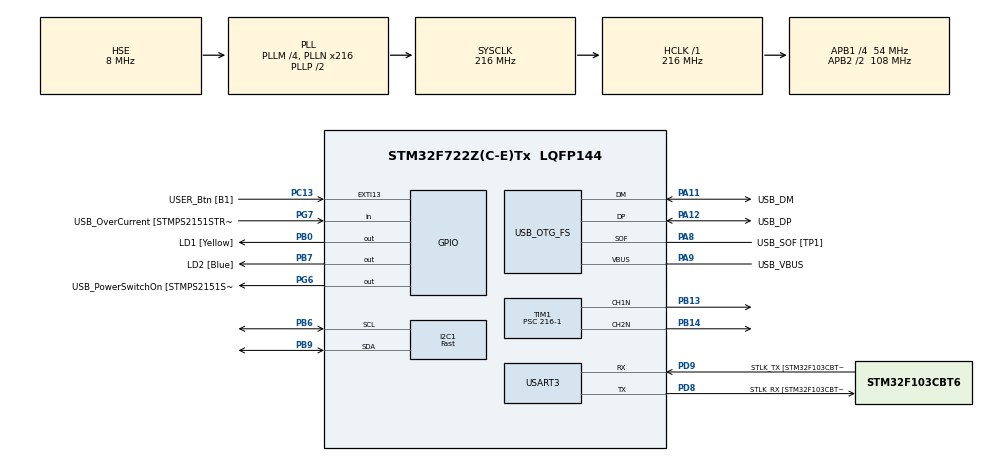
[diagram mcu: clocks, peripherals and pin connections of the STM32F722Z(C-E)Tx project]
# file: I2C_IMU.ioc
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I2C1.I2C_Speed_Mode=I2C_Fast
I2C1.Timing=0x6000030D
Mcu.Family=STM32F7
Mcu.Name=STM32F722Z(C-E)Tx
Mcu.Package=LQFP144
NVIC.PriorityGroup=NVIC_PRIORITYGROUP_4
PA10.GPIO_Label=USB_ID
PA10.Signal=USB_OTG_FS_ID
PA11.GPIO_Label=USB_DM
PA11.Mode=Device_Only
PA11.Signal=USB_OTG_FS_DM
PA12.GPIO_Label=USB_DP
PA12.Mode=Device_Only
PA12.Signal=USB_OTG_FS_DP
PA13.GPIO_Label=TMS
PA13.Mode=Serial_Wire
PA13.Signal=SYS_JTMS-SWDIO
PA14.GPIO_Label=TCK
PA14.Mode=Serial_Wire
PA14.Signal=SYS_JTCK-SWCLK
PA8.GPIO_Label=USB_SOF [TP1]
PA8.Mode=Activate_SOF_FS
PA8.Signal=USB_OTG_FS_SOF
PA9.GPIO_Label=USB_VBUS
PA9.Mode=Activate_VBUS
PA9.Signal=USB_OTG_FS_VBUS
PB0.GPIO_Label=LD1 [Yellow]
PB0.Signal=GPIO_Output
PB13.Mode=PWM Generation1 CH1N
PB13.Signal=TIM1_CH1N
PB14.Mode=PWM Generation2 CH2N
PB14.Signal=TIM1_CH2N
PB3.GPIO_Label=SWO
PB3.Signal=SYS_JTDO-SWO
PB6.Mode=I2C
PB6.Signal=I2C1_SCL
PB7.GPIO_Label=LD2 [Blue]
PB7.Signal=GPIO_Output
PB9.Mode=I2C
PB9.Signal=I2C1_SDA
PC13.GPIO_Label=USER_Btn [B1]
PC13.Signal=GPXTI13
PC14-OSC32_IN.Mode=LSE-External-Oscillator
PC14-OSC32_IN.Signal=RCC_OSC32_IN
PC15-OSC32_OUT.Mode=LSE-External-Oscillator
PC15-OSC32_OUT.Signal=RCC_OSC32_OUT
PD8.GPIO_Label=STLK_RX [STM32F103CBT6_PA3]
PD8.Mode=Asynchronous
PD8.Signal=USART3_TX
PD9.GPIO_Label=STLK_TX [STM32F103CBT6_PA2]
PD9.Mode=Asynchronous
PD9.Signal=USART3_RX
PG6.GPIO_Label=USB_PowerSwitchOn [STMPS2151STR_EN]
PG6.Signal=GPIO_Output
PG7.GPIO_Label=USB_OverCurrent [STMPS2151STR_FAULT]
PG7.Signal=GPIO_Input
PH0-OSC_IN.GPIO_Label=MCO
PH0-OSC_IN.Mode=HSE-External-Clock-Source
PH0-OSC_IN.Signal=RCC_OSC_IN
PH1-OSC_OUT.Mode=HSE-External-Clock-Source
PH1-OSC_OUT.Signal=RCC_OSC_OUT
ProjectManager.HeapSize=0x200
ProjectManager.StackSize=0x400
ProjectManager.TargetToolchain=TrueSTUDIO
RCC.48MHZClocksFreq_Value=24000000
RCC.AHBFreq_Value=216000000
RCC.APB1CLKDivider=RCC_HCLK_DIV4
RCC.APB1Freq_Value=54000000
RCC.APB1TimFreq_Value=108000000
RCC.APB2CLKDivider=RCC_HCLK_DIV2
RCC.APB2Freq_Value=108000000
RCC.APB2TimFreq_Value=216000000
RCC.CortexFreq_Value=216000000
RCC.HCLKFreq_Value=216000000
RCC.HSE_VALUE=8000000
RCC.HSI_VALUE=16000000
RCC.PLLM=4
RCC.PLLMUL=RCC_PLL_MUL9
RCC.PLLN=216
RCC.PLLQ=9
RCC.PRESCALERUSB=RCC_USBCLKSOURCE_PLL_DIV1_5
RCC.SYSCLKFreq_VALUE=216000000
RCC.SYSCLKSource=RCC_SYSCLKSOURCE_PLLCLK
RCC.SYSCLKSourceVirtual=RCC_SYSCLKSOURCE_PLLCLK
RCC.USBFreq_Value=48000000
RCC.VCOOutputFreq_Value=432000000
TIM1.Channel-PWM\ Generation1\ CH1N=TIM_CHANNEL_1
TIM1.Channel-PWM\ Generation2\ CH2N=TIM_CHANNEL_2
TIM1.Period=1000
TIM1.Prescaler=216-1
TIM1.Pulse-PWM\ Generation1\ CH1N=500
TIM1.Pulse-PWM\ Generation2\ CH2N=500
USART3.VirtualMode-Asynchronous=VM_ASYNC
USB_OTG_FS.VirtualMode=Device_Only
board=NUCLEO-F722ZE

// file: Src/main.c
/* USER CODE BEGIN Header */
/**
  ******************************************************************************
  * @file           : main.c
  * @brief          : Main program body
  ******************************************************************************
  ** This notice applies to any and all portions of this file
  * that are not between comment pairs USER CODE BEGIN and
  * USER CODE END. Other portions of this file, whether
  * inserted by the user or by software development tools
  * are owned by their respective copyright owners.
  *
  * COPYRIGHT(c) 2018 STMicroelectronics
  *
  * Redistribution and use in source and binary forms, with or without modification,
  * are permitted provided that the following conditions are met:
  *   1. Redistributions of source code must retain the above copyright notice,
  *      this list of conditions and the following disclaimer.
  *   2. Redistributions in binary form must reproduce the above copyright notice,
  *      this list of conditions and the following disclaimer in the documentation
  *      and/or other materials provided with the distribution.
  *   3. Neither the name of STMicroelectronics nor the names of its contributors
  *      may be used to endorse or promote products derived from this software
  *      without specific prior written permission.
  *
  * THIS SOFTWARE IS PROVIDED BY THE COPYRIGHT HOLDERS AND CONTRIBUTORS "AS IS"
  * AND ANY EXPRESS OR IMPLIED WARRANTIES, INCLUDING, BUT NOT LIMITED TO, THE
  * IMPLIED WARRANTIES OF MERCHANTABILITY AND FITNESS FOR A PARTICULAR PURPOSE ARE
  * DISCLAIMED. IN NO EVENT SHALL THE COPYRIGHT HOLDER OR CONTRIBUTORS BE LIABLE
  * FOR ANY DIRECT, INDIRECT, INCIDENTAL, SPECIAL, EXEMPLARY, OR CONSEQUENTIAL
  * DAMAGES (INCLUDING, BUT NOT LIMITED TO, PROCUREMENT OF SUBSTITUTE GOODS OR
  * SERVICES; LOSS OF USE, DATA, OR PROFITS; OR BUSINESS INTERRUPTION) HOWEVER
  * CAUSED AND ON ANY THEORY OF LIABILITY, WHETHER IN CONTRACT, STRICT LIABILITY,
  * OR TORT (INCLUDING NEGLIGENCE OR OTHERWISE) ARISING IN ANY WAY OUT OF THE USE
  * OF THIS SOFTWARE, EVEN IF ADVISED OF THE POSSIBILITY OF SUCH DAMAGE.
  *
  ******************************************************************************
  */
/* USER CODE END Header */

#include "main.h"

I2C_HandleTypeDef hi2c1;

TIM_HandleTypeDef htim1;

UART_HandleTypeDef huart3;

PCD_HandleTypeDef hpcd_USB_OTG_FS;

void SystemClock_Config(void);
static void MX_GPIO_Init(void);
static void MX_USART3_UART_Init(void);
static void MX_USB_OTG_FS_PCD_Init(void);
static void MX_I2C1_Init(void);
static void MX_TIM1_Init(void);

int main(void)
{

  /* MCU Configuration--------------------------------------------------------*/

  /* Reset of all peripherals, Initializes the Flash interface and the Systick. */
  HAL_Init();

  /* Configure the system clock */
  SystemClock_Config();

  /* Initialize all configured peripherals */
  MX_GPIO_Init();
  MX_USART3_UART_Init();
  MX_USB_OTG_FS_PCD_Init();
  MX_I2C1_Init();
  MX_TIM1_Init();
  /* USER CODE BEGIN 2 */

  HAL_StatusTypeDef rcv_status = HAL_ERROR;
  uint8_t input;
  uint8_t menu[100]="q(Q):LD1 on(off) w(W):LD2 on(off) e(E):LD3 on(dimming) r(R):IMU(break)";

  uint8_t ld1_on[20]="LD1 ON\n\r";
  uint8_t ld1_off[20]="LD1 OFF\n\r";
  uint8_t ld2_on[20]="LD2 ON\n\r";
  uint8_t ld2_off[20]="LD2 OFF\n\r";
  uint8_t ld3_on[20]="LD3 ON\n\r";
  uint8_t ld3_dim[20]="LD3 DIM\n\r";

  uint8_t line_clear[2] = "\n\r";

  HAL_UART_Transmit(&huart3, menu, sizeof(menu), 1000);
  HAL_UART_Transmit(&huart3, line_clear, sizeof(line_clear), 1000);

  HAL_TIM_PWM_Start(&htim1,TIM_CHANNEL_1);
  HAL_TIMEx_PWMN_Start(&htim1, TIM_CHANNEL_1);
  HAL_TIM_PWM_Start(&htim1,TIM_CHANNEL_2);
  HAL_TIMEx_PWMN_Start(&htim1, TIM_CHANNEL_2);
  TIM1->ARR = 5000;

  /* USER CODE END 2 */

  /* Infinite loop */
  while (1)
  {

  }
}

void SystemClock_Config(void)
{
  RCC_OscInitTypeDef RCC_OscInitStruct = {0};
  RCC_ClkInitTypeDef RCC_ClkInitStruct = {0};
  RCC_PeriphCLKInitTypeDef PeriphClkInitStruct = {0};

  /**Configure LSE Drive Capability
  */
  HAL_PWR_EnableBkUpAccess();
  /**Configure the main internal regulator output voltage
  */
  __HAL_RCC_PWR_CLK_ENABLE();
  __HAL_PWR_VOLTAGESCALING_CONFIG(PWR_REGULATOR_VOLTAGE_SCALE1);
  /**Initializes the CPU, AHB and APB busses clocks
  */
  RCC_OscInitStruct.OscillatorType = RCC_OSCILLATORTYPE_HSE;
  RCC_OscInitStruct.HSEState = RCC_HSE_BYPASS;
  RCC_OscInitStruct.PLL.PLLState = RCC_PLL_ON;
  RCC_OscInitStruct.PLL.PLLSource = RCC_PLLSOURCE_HSE;
  RCC_OscInitStruct.PLL.PLLM = 4;
  RCC_OscInitStruct.PLL.PLLN = 216;
  RCC_OscInitStruct.PLL.PLLP = RCC_PLLP_DIV2;
  RCC_OscInitStruct.PLL.PLLQ = 9;
  if (HAL_RCC_OscConfig(&RCC_OscInitStruct) != HAL_OK)
  {
    Error_Handler();
  }
  /**Activate the Over-Drive mode
  */
  if (HAL_PWREx_EnableOverDrive() != HAL_OK)
  {
    Error_Handler();
  }
  /**Initializes the CPU, AHB and APB busses clocks
  */
  RCC_ClkInitStruct.ClockType = RCC_CLOCKTYPE_HCLK|RCC_CLOCKTYPE_SYSCLK
                              |RCC_CLOCKTYPE_PCLK1|RCC_CLOCKTYPE_PCLK2;
  RCC_ClkInitStruct.SYSCLKSource = RCC_SYSCLKSOURCE_PLLCLK;
  RCC_ClkInitStruct.AHBCLKDivider = RCC_SYSCLK_DIV1;
  RCC_ClkInitStruct.APB1CLKDivider = RCC_HCLK_DIV4;
  RCC_ClkInitStruct.APB2CLKDivider = RCC_HCLK_DIV2;

  if (HAL_RCC_ClockConfig(&RCC_ClkInitStruct, FLASH_LATENCY_7) != HAL_OK)
  {
    Error_Handler();
  }
  PeriphClkInitStruct.PeriphClockSelection = RCC_PERIPHCLK_USART3|RCC_PERIPHCLK_I2C1
                              |RCC_PERIPHCLK_CLK48;
  PeriphClkInitStruct.Usart3ClockSelection = RCC_USART3CLKSOURCE_PCLK1;
  PeriphClkInitStruct.I2c1ClockSelection = RCC_I2C1CLKSOURCE_PCLK1;
  PeriphClkInitStruct.Clk48ClockSelection = RCC_CLK48SOURCE_PLL;
  if (HAL_RCCEx_PeriphCLKConfig(&PeriphClkInitStruct) != HAL_OK)
  {
    Error_Handler();
  }
}

static void MX_I2C1_Init(void)
{

  hi2c1.Instance = I2C1;
  hi2c1.Init.Timing = 0x6000030D;
  hi2c1.Init.OwnAddress1 = 0;
  hi2c1.Init.AddressingMode = I2C_ADDRESSINGMODE_7BIT;
  hi2c1.Init.DualAddressMode = I2C_DUALADDRESS_DISABLE;
  hi2c1.Init.OwnAddress2 = 0;
  hi2c1.Init.OwnAddress2Masks = I2C_OA2_NOMASK;
  hi2c1.Init.GeneralCallMode = I2C_GENERALCALL_DISABLE;
  hi2c1.Init.NoStretchMode = I2C_NOSTRETCH_DISABLE;
  if (HAL_I2C_Init(&hi2c1) != HAL_OK)
  {
    Error_Handler();
  }
  /**Configure Analogue filter
  */
  if (HAL_I2CEx_ConfigAnalogFilter(&hi2c1, I2C_ANALOGFILTER_ENABLE) != HAL_OK)
  {
    Error_Handler();
  }
  /**Configure Digital filter
  */
  if (HAL_I2CEx_ConfigDigitalFilter(&hi2c1, 0) != HAL_OK)
  {
    Error_Handler();
  }

}

static void MX_TIM1_Init(void)
{

  TIM_MasterConfigTypeDef sMasterConfig = {0};
  TIM_OC_InitTypeDef sConfigOC = {0};
  TIM_BreakDeadTimeConfigTypeDef sBreakDeadTimeConfig = {0};

  htim1.Instance = TIM1;
  htim1.Init.Prescaler = 216-1;
  htim1.Init.CounterMode = TIM_COUNTERMODE_UP;
  htim1.Init.Period = 1000;
  htim1.Init.ClockDivision = TIM_CLOCKDIVISION_DIV1;
  htim1.Init.RepetitionCounter = 0;
  htim1.Init.AutoReloadPreload = TIM_AUTORELOAD_PRELOAD_DISABLE;
  if (HAL_TIM_PWM_Init(&htim1) != HAL_OK)
  {
    Error_Handler();
  }
  sMasterConfig.MasterOutputTrigger = TIM_TRGO_RESET;
  sMasterConfig.MasterOutputTrigger2 = TIM_TRGO2_RESET;
  sMasterConfig.MasterSlaveMode = TIM_MASTERSLAVEMODE_DISABLE;
  if (HAL_TIMEx_MasterConfigSynchronization(&htim1, &sMasterConfig) != HAL_OK)
  {
    Error_Handler();
  }
  sConfigOC.OCMode = TIM_OCMODE_PWM1;
  sConfigOC.Pulse = 500;
  sConfigOC.OCPolarity = TIM_OCPOLARITY_HIGH;
  sConfigOC.OCNPolarity = TIM_OCNPOLARITY_HIGH;
  sConfigOC.OCFastMode = TIM_OCFAST_DISABLE;
  sConfigOC.OCIdleState = TIM_OCIDLESTATE_RESET;
  sConfigOC.OCNIdleState = TIM_OCNIDLESTATE_RESET;
  if (HAL_TIM_PWM_ConfigChannel(&htim1, &sConfigOC, TIM_CHANNEL_1) != HAL_OK)
  {
    Error_Handler();
  }
  if (HAL_TIM_PWM_ConfigChannel(&htim1, &sConfigOC, TIM_CHANNEL_2) != HAL_OK)
  {
    Error_Handler();
  }
  sBreakDeadTimeConfig.OffStateRunMode = TIM_OSSR_DISABLE;
  sBreakDeadTimeConfig.OffStateIDLEMode = TIM_OSSI_DISABLE;
  sBreakDeadTimeConfig.LockLevel = TIM_LOCKLEVEL_OFF;
  sBreakDeadTimeConfig.DeadTime = 0;
  sBreakDeadTimeConfig.BreakState = TIM_BREAK_DISABLE;
  sBreakDeadTimeConfig.BreakPolarity = TIM_BREAKPOLARITY_HIGH;
  sBreakDeadTimeConfig.BreakFilter = 0;
  sBreakDeadTimeConfig.Break2State = TIM_BREAK2_DISABLE;
  sBreakDeadTimeConfig.Break2Polarity = TIM_BREAK2POLARITY_HIGH;
  sBreakDeadTimeConfig.Break2Filter = 0;
  sBreakDeadTimeConfig.AutomaticOutput = TIM_AUTOMATICOUTPUT_DISABLE;
  if (HAL_TIMEx_ConfigBreakDeadTime(&htim1, &sBreakDeadTimeConfig) != HAL_OK)
  {
    Error_Handler();
  }
  HAL_TIM_MspPostInit(&htim1);

}

static void MX_USART3_UART_Init(void)
{

  huart3.Instance = USART3;
  huart3.Init.BaudRate = 115200;
  huart3.Init.WordLength = UART_WORDLENGTH_8B;
  huart3.Init.StopBits = UART_STOPBITS_1;
  huart3.Init.Parity = UART_PARITY_NONE;
  huart3.Init.Mode = UART_MODE_TX_RX;
  huart3.Init.HwFlowCtl = UART_HWCONTROL_NONE;
  huart3.Init.OverSampling = UART_OVERSAMPLING_16;
  huart3.Init.OneBitSampling = UART_ONE_BIT_SAMPLE_DISABLE;
  huart3.AdvancedInit.AdvFeatureInit = UART_ADVFEATURE_NO_INIT;
  if (HAL_UART_Init(&huart3) != HAL_OK)
  {
    Error_Handler();
  }

}

static void MX_USB_OTG_FS_PCD_Init(void)
{

  hpcd_USB_OTG_FS.Instance = USB_OTG_FS;
  hpcd_USB_OTG_FS.Init.dev_endpoints = 6;
  hpcd_USB_OTG_FS.Init.dma_enable = DISABLE;
  hpcd_USB_OTG_FS.Init.ep0_mps = DEP0CTL_MPS_64;
  hpcd_USB_OTG_FS.Init.phy_itface = PCD_PHY_EMBEDDED;
  hpcd_USB_OTG_FS.Init.Sof_enable = ENABLE;
  hpcd_USB_OTG_FS.Init.low_power_enable = DISABLE;
  hpcd_USB_OTG_FS.Init.lpm_enable = DISABLE;
  hpcd_USB_OTG_FS.Init.battery_charging_enable = ENABLE;
  hpcd_USB_OTG_FS.Init.vbus_sensing_enable = ENABLE;
  hpcd_USB_OTG_FS.Init.use_dedicated_ep1 = DISABLE;
  if (HAL_PCD_Init(&hpcd_USB_OTG_FS) != HAL_OK)
  {
    Error_Handler();
  }

}

static void MX_GPIO_Init(void)
{
  GPIO_InitTypeDef GPIO_InitStruct = {0};

  /* GPIO Ports Clock Enable */
  __HAL_RCC_GPIOC_CLK_ENABLE();
  __HAL_RCC_GPIOH_CLK_ENABLE();
  __HAL_RCC_GPIOB_CLK_ENABLE();
  __HAL_RCC_GPIOD_CLK_ENABLE();
  __HAL_RCC_GPIOG_CLK_ENABLE();
  __HAL_RCC_GPIOA_CLK_ENABLE();

  /*Configure GPIO pin Output Level */
  HAL_GPIO_WritePin(GPIOB, LD1_Pin|LD2_Pin, GPIO_PIN_RESET);

  /*Configure GPIO pin Output Level */
  HAL_GPIO_WritePin(USB_PowerSwitchOn_GPIO_Port, USB_PowerSwitchOn_Pin, GPIO_PIN_RESET);

  /*Configure GPIO pin : USER_Btn_Pin */
  GPIO_InitStruct.Pin = USER_Btn_Pin;
  GPIO_InitStruct.Mode = GPIO_MODE_IT_RISING;
  GPIO_InitStruct.Pull = GPIO_NOPULL;
  HAL_GPIO_Init(USER_Btn_GPIO_Port, &GPIO_InitStruct);

  /*Configure GPIO pins : LD1_Pin LD2_Pin */
  GPIO_InitStruct.Pin = LD1_Pin|LD2_Pin;
  GPIO_InitStruct.Mode = GPIO_MODE_OUTPUT_PP;
  GPIO_InitStruct.Pull = GPIO_NOPULL;
  GPIO_InitStruct.Speed = GPIO_SPEED_FREQ_LOW;
  HAL_GPIO_Init(GPIOB, &GPIO_InitStruct);

  /*Configure GPIO pin : USB_PowerSwitchOn_Pin */
  GPIO_InitStruct.Pin = USB_PowerSwitchOn_Pin;
  GPIO_InitStruct.Mode = GPIO_MODE_OUTPUT_PP;
  GPIO_InitStruct.Pull = GPIO_NOPULL;
  GPIO_InitStruct.Speed = GPIO_SPEED_FREQ_LOW;
  HAL_GPIO_Init(USB_PowerSwitchOn_GPIO_Port, &GPIO_InitStruct);

  /*Configure GPIO pin : USB_OverCurrent_Pin */
  GPIO_InitStruct.Pin = USB_OverCurrent_Pin;
  GPIO_InitStruct.Mode = GPIO_MODE_INPUT;
  GPIO_InitStruct.Pull = GPIO_NOPULL;
  HAL_GPIO_Init(USB_OverCurrent_GPIO_Port, &GPIO_InitStruct);

}

void Error_Handler(void)
{
}

/************************ (C) COPYRIGHT STMicroelectronics *****END OF FILE****/
